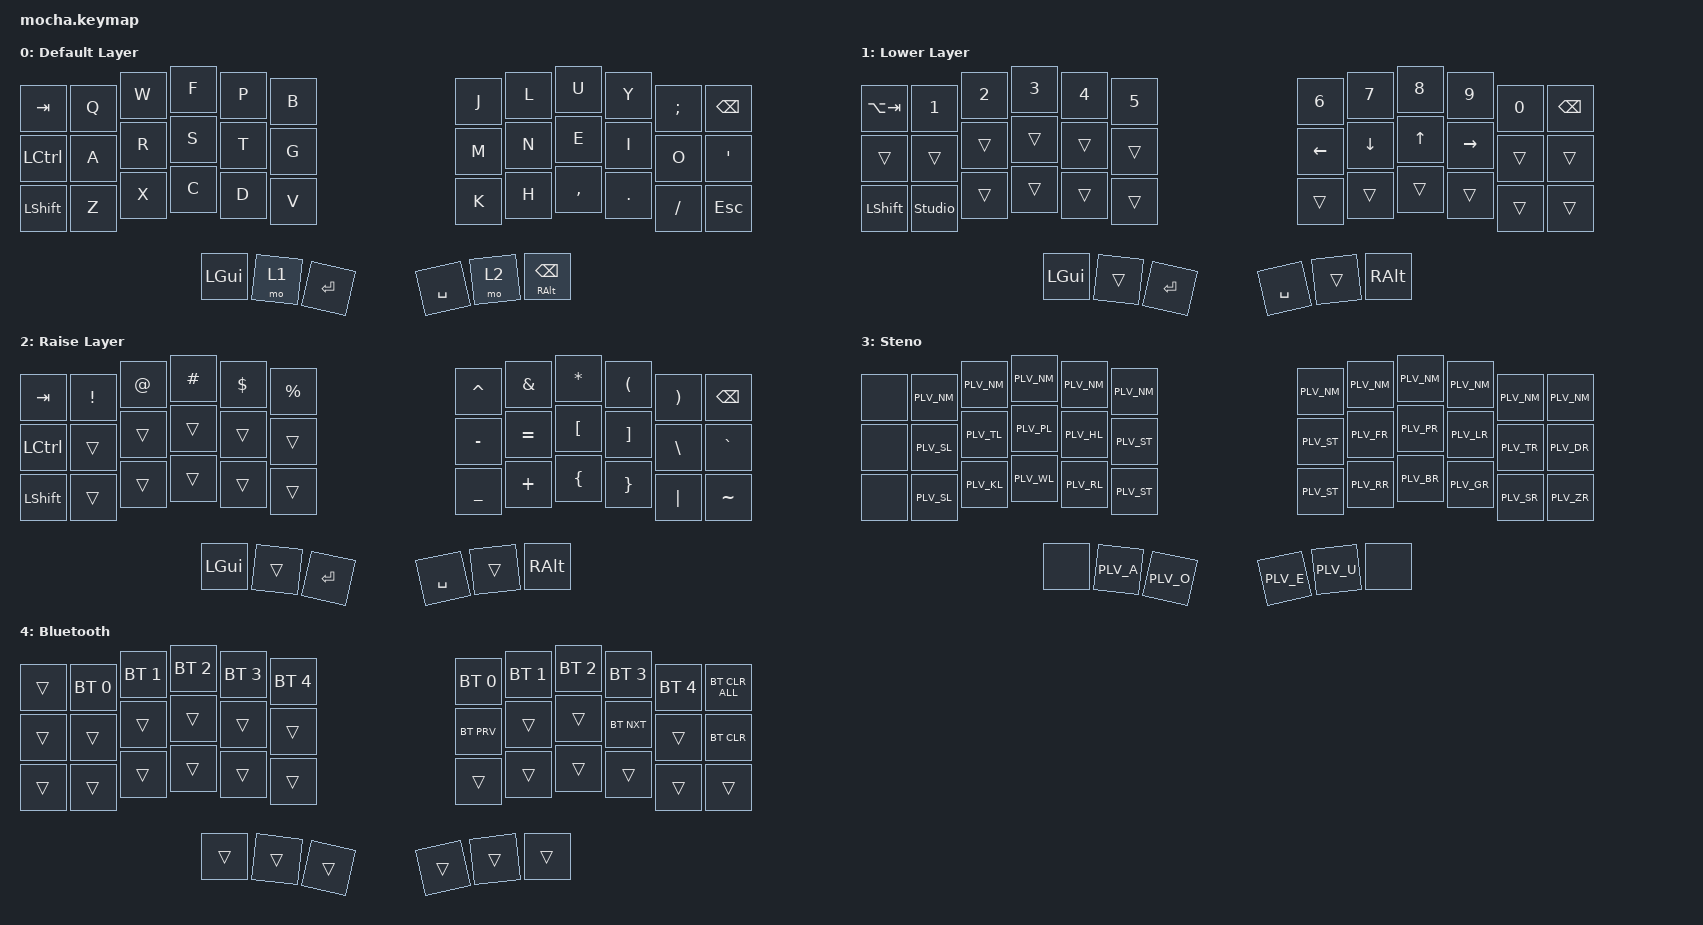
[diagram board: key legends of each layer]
/*
 * Copyright (c) 2020 The ZMK Contributors
 *
 * SPDX-License-Identifier: MIT
 */

#include <behaviors.dtsi>
#include <dt-bindings/zmk/bt.h>
#include <dt-bindings/zmk/keys.h>

/ {
    combos {
        compatible = "zmk,combos";

        combo_steno {
            bindings = <&tog 3>;
            key-positions = <36 41>;
        };

        combo_bt {
            bindings = <&mo 4>;
            key-positions = <16 37>;
            layers = <0 1>;
        };
    };

    keymap {
        compatible = "zmk,keymap";

        default_layer {
            display-name = "Default Layer";

            // -----------------------------------------------------------------------------------------
            // |  TAB |  Q  |  W  |  E  |  R  |  T  |   |  Y  |  U   |  I  |  O  |  P  | BSPC |
            // | CTRL |  A  |  S  |  D  |  F  |  G  |   |  H  |  J   |  K  |  L  |  ;  |  '   |
            // | SHFT |  Z  |  X  |  C  |  V  |  B  |   |  N  |  M   |  ,  |  .  |  /  | ESC  |
            //                    | GUI | LWR | ENT |   | SPC | RSE  | ALT |

            bindings = <
&kp TAB    &kp Q  &kp W  &kp F     &kp P  &kp B    &kp J      &kp L  &kp U               &kp Y    &kp SEMI  &kp BSPC
&kp LCTRL  &kp A  &kp R  &kp S     &kp T  &kp G    &kp M      &kp N  &kp E               &kp I    &kp O     &kp SQT
&kp LSHFT  &kp Z  &kp X  &kp C     &kp D  &kp V    &kp K      &kp H  &kp COMMA           &kp DOT  &kp FSLH  &kp ESC
                         &kp LGUI  &mo 1  &kp RET  &kp SPACE  &mo 2  &mt RALT BACKSPACE
            >;
        };

        lower_layer {
            display-name = "Lower Layer";

            // -----------------------------------------------------------------------------------------
            // |  TAB |  1  |  2  |  3  |  4  |  5  |   |  6  |  7  |  8  |  9  |  0  | BSPC |
            // | BTCLR| BT1 | BT2 | BT3 | BT4 | BT5 |   | LFT | DWN |  UP | RGT |     |      |
            // | SHFT | UNLK|     |     |     |     |   |     |     |     |     |     |      |
            //                    | GUI |     | ENT |   | SPC |     | ALT |

            bindings = <
&kp LA(TAB)  &kp N1          &kp N2        &kp N3        &kp N4        &kp N5        &kp N6     &kp N7    &kp N8    &kp N9     &kp N0  &kp BSPC
&trans       &trans          &trans        &trans        &trans        &trans        &kp LEFT   &kp DOWN  &kp UP    &kp RIGHT  &trans  &trans
&kp LSHFT    &studio_unlock  &trans        &trans        &trans        &trans        &trans     &trans    &trans    &trans     &trans  &trans
                                           &kp LGUI      &trans        &kp RET       &kp SPACE  &trans    &kp RALT
            >;
        };

        raise_layer {
            display-name = "Raise Layer";

            // -----------------------------------------------------------------------------------------
            // |  TAB |  !  |  @  |  #  |  $  |  %  |   |  ^  |  &  |  *  |  (  |  )  | BSPC |
            // | CTRL |     |     |     |     |     |   |  -  |  =  |  [  |  ]  |  \  |  `   |
            // | SHFT |     |     |     |     |     |   |  _  |  +  |  {  |  }  | "|" |  ~   |
            //                    | GUI |     | ENT |   | SPC |     | ALT |

            bindings = <
&kp TAB    &kp EXCL  &kp AT  &kp HASH  &kp DLLR  &kp PRCNT  &kp CARET  &kp AMPS   &kp ASTRK  &kp LPAR  &kp RPAR  &kp BSPC
&kp LCTRL  &trans    &trans  &trans    &trans    &trans     &kp MINUS  &kp EQUAL  &kp LBKT   &kp RBKT  &kp BSLH  &kp GRAVE
&kp LSHFT  &trans    &trans  &trans    &trans    &trans     &kp UNDER  &kp PLUS   &kp LBRC   &kp RBRC  &kp PIPE  &kp TILDE
                             &kp LGUI  &trans    &kp RET    &kp SPACE  &trans     &kp RALT
            >;
        };

        steno_layer {
            display-name = "Steno";
            bindings = <
&none  &kp PLV_NM  &kp PLV_NM  &kp PLV_NM  &kp PLV_NM  &kp PLV_NM  &kp PLV_NM  &kp PLV_NM  &kp PLV_NM  &kp PLV_NM  &kp PLV_NM  &kp PLV_NM
&none  &kp PLV_SL  &kp PLV_TL  &kp PLV_PL  &kp PLV_HL  &kp PLV_ST  &kp PLV_ST  &kp PLV_FR  &kp PLV_PR  &kp PLV_LR  &kp PLV_TR  &kp PLV_DR
&none  &kp PLV_SL  &kp PLV_KL  &kp PLV_WL  &kp PLV_RL  &kp PLV_ST  &kp PLV_ST  &kp PLV_RR  &kp PLV_BR  &kp PLV_GR  &kp PLV_SR  &kp PLV_ZR
                               &none       &kp PLV_A   &kp PLV_O   &kp PLV_E   &kp PLV_U   &none
            >;
        };

        bluetooth_layer {
			display-name = "Bluetooth";
            bindings = <
&trans  &bt BT_SEL 0  &bt BT_SEL 1  &bt BT_SEL 2  &bt BT_SEL 3  &bt BT_SEL 4  &bt BT_SEL 0  &bt BT_SEL 1  &bt BT_SEL 2  &bt BT_SEL 3  &bt BT_SEL 4 &bt BT_CLR_ALL
&trans  &trans        &trans        &trans        &trans        &trans        &bt BT_PRV  &trans  &trans  &bt BT_NXT  &trans      &bt BT_CLR
&trans  &trans        &trans        &trans        &trans        &trans        &trans      &trans  &trans  &trans      &trans      &trans
                                    &trans        &trans        &trans        &trans      &trans  &trans
            >;
        };
    };
};
